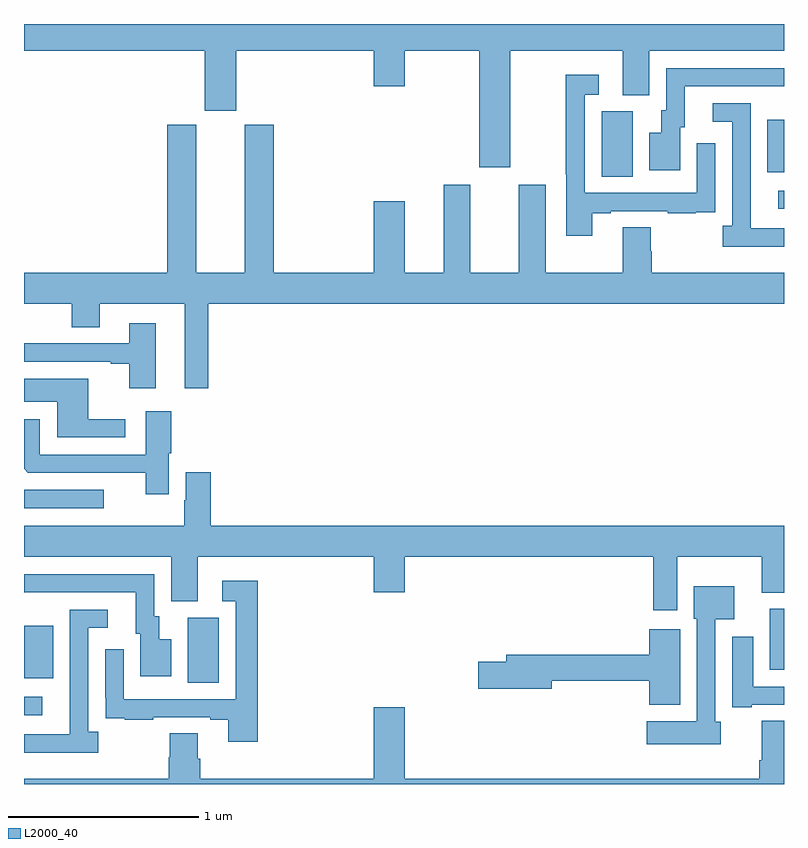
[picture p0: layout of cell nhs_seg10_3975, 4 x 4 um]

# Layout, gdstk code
import gdstk
lib = gdstk.Library(unit=1e-6, precision=1e-09)
def R(c, l, rs):  # rectangles x0, y0, x1, y1
    for r in rs: c.add(gdstk.rectangle(r[:2], r[2:], *l))
def P(c, l, *ps):  # polygons
    for p in ps: c.add(gdstk.Polygon(p, *l))
L2000_40 = (2000, 40)

nhs_seg10_3975 = lib.new_cell('nhs_seg10_3975')
R(nhs_seg10_3975, L2000_40, [(331,1252.863,331.096,1252.959), (331.862,1253.032,332.026,1253.376), (331,1253.057,331.153,1253.332), (334.925,1253.102,335,1253.422), (331,1253.952,331.42,1254.048), (334.971,1255.527,335,1255.623), (334.04,1255.696,334.204,1256.04), (334.913,1255.721,335,1255.996)])
P(nhs_seg10_3975, L2000_40, [(333.559,1256.36),(334.151,1256.36),(334.151,1256.125),(334.291,1256.125),(334.291,1256.36),(335,1256.36),(335,1256.5),(331,1256.5),(331,1256.36),(331.952,1256.36),(331.952,1256.043),(332.116,1256.043),(332.116,1256.36),(332.84,1256.36),(332.84,1256.172),(333.004,1256.172),(333.004,1256.36),(333.395,1256.36),(333.395,1255.746),(333.559,1255.746)],
  [(334.453,1255.956),(334.477,1255.956),(334.477,1256.172),(335,1256.172),(335,1256.268),(334.38,1256.268),(334.38,1256.046),(334.355,1256.046),(334.355,1255.927),(334.292,1255.927),(334.292,1255.731),(334.453,1255.731)],
  [(333.991,1255.503),(334.087,1255.503),(334.087,1255.515),(334.387,1255.515),(334.387,1255.503),(334.535,1255.503),(334.535,1255.509),(334.637,1255.509),(334.637,1255.618),(334.638,1255.618),(334.638,1255.873),(334.542,1255.873),(334.542,1255.611),(333.951,1255.611),(333.951,1256.127),(334.024,1256.127),(334.024,1256.233),(333.85,1256.233),(333.85,1255.708),(333.855,1255.708),(333.855,1255.386),(333.991,1255.386)],
  [(335,1255.425),(334.825,1255.425),(334.825,1255.625),(334.824,1255.625),(334.824,1256.082),(334.626,1256.082),(334.626,1255.986),(334.728,1255.986),(334.728,1255.438),(334.677,1255.438),(334.677,1255.328),(335,1255.328)],
  [(331.969,1255.028),(335,1255.028),(335,1255.192),(334.304,1255.192),(334.304,1255.305),(334.299,1255.305),(334.299,1255.43),(334.151,1255.43),(334.151,1255.192),(333.745,1255.192),(333.745,1255.654),(333.605,1255.654),(333.605,1255.192),(333.349,1255.192),(333.349,1255.654),(333.209,1255.654),(333.209,1255.192),(333.004,1255.192),(333.004,1255.567),(332.84,1255.567),(332.84,1255.192),(332.315,1255.192),(332.315,1255.971),(332.162,1255.971),(332.162,1255.192),(331.906,1255.192),(331.906,1255.971),(331.754,1255.971),(331.754,1255.192),(331,1255.192),(331,1255.028),(331.252,1255.028),(331.252,1254.904),(331.399,1254.904),(331.399,1255.028),(331.847,1255.028),(331.847,1254.582),(331.969,1254.582)],
  [(331.693,1254.925),(331.553,1254.925),(331.553,1254.819),(331.163,1254.819),(331.163,1254.821),(331,1254.821),(331,1254.723),(331.457,1254.723),(331.457,1254.711),(331.553,1254.711),(331.553,1254.582),(331.693,1254.582)],
  [(331.534,1254.421),(331.339,1254.421),(331.339,1254.634),(331.063,1254.634),(331.063,1254.633),(331,1254.633),(331,1254.512),(331.175,1254.512),(331.175,1254.324),(331.534,1254.324)],
  [(331.762,1254.241),(331.775,1254.241),(331.775,1254.463),(331.64,1254.463),(331.64,1254.234),(331.083,1254.234),(331.083,1254.42),(331,1254.42),(331,1254.158),(331.02,1254.138),(331.64,1254.138),(331.64,1254.024),(331.762,1254.024)],
  [(334.438,1253.696),(334.883,1253.696),(334.883,1253.507),(335,1253.507),(335,1253.86),(331.982,1253.86),(331.982,1254.142),(331.85,1254.142),(331.85,1253.993),(331.843,1253.993),(331.843,1253.86),(331,1253.86),(331,1253.696),(331.775,1253.696),(331.775,1253.461),(331.915,1253.461),(331.915,1253.696),(332.84,1253.696),(332.84,1253.508),(333.004,1253.508),(333.004,1253.696),(334.313,1253.696),(334.313,1253.415),(334.438,1253.415)],
  [(331.774,1253.263),(331.711,1253.263),(331.711,1253.382),(331.686,1253.382),(331.686,1253.604),(331,1253.604),(331,1253.506),(331.002,1253.508),(331.589,1253.508),(331.589,1253.292),(331.613,1253.292),(331.613,1253.067),(331.774,1253.067)],
  [(332.231,1253.569),(332.043,1253.569),(332.043,1253.463),(332.115,1253.463),(332.115,1252.947),(331.524,1252.947),(331.524,1253.209),(331.428,1253.209),(331.428,1252.954),(331.429,1252.954),(331.429,1252.845),(331.531,1252.845),(331.531,1252.839),(331.679,1252.839),(331.679,1252.851),(331.979,1252.851),(331.979,1252.839),(332.075,1252.839),(332.075,1252.722),(332.231,1252.722)],
  [(334.666,1252.827),(334.638,1252.827),(334.638,1253.366),(334.738,1253.366),(334.738,1253.542),(334.526,1253.542),(334.526,1253.37),(334.542,1253.37),(334.542,1252.831),(334.278,1252.831),(334.278,1252.709),(334.666,1252.709)],
  [(331.39,1252.774),(331.338,1252.774),(331.338,1253.322),(331.441,1253.322),(331.441,1253.418),(331.242,1253.418),(331.242,1252.961),(331.241,1252.961),(331.241,1252.761),(331,1252.761),(331,1252.664),(331.39,1252.664)],
  [(334.453,1253.314),(334.292,1253.314),(334.292,1253.18),(333.539,1253.18),(333.539,1253.144),(333.39,1253.144),(333.39,1253.002),(333.778,1253.002),(333.778,1253.044),(334.292,1253.044),(334.292,1252.916),(334.453,1252.916)],
  [(334.831,1252.917),(335,1252.917),(335,1253.013),(334.837,1253.013),(334.837,1253.275),(334.727,1253.275),(334.727,1252.905),(334.831,1252.905)],
  [(335,1252.832),(334.883,1252.832),(334.883,1252.624),(334.871,1252.624),(334.871,1252.528),(333.004,1252.528),(333.004,1252.903),(332.84,1252.903),(332.84,1252.528),(331.928,1252.528),(331.928,1252.634),(331.915,1252.634),(331.915,1252.766),(331.768,1252.766),(331.768,1252.641),(331.763,1252.641),(331.763,1252.528),(331,1252.528),(331,1252.5),(335,1252.5)])

lib.write_gds('nhs_seg10_3975.gds')
